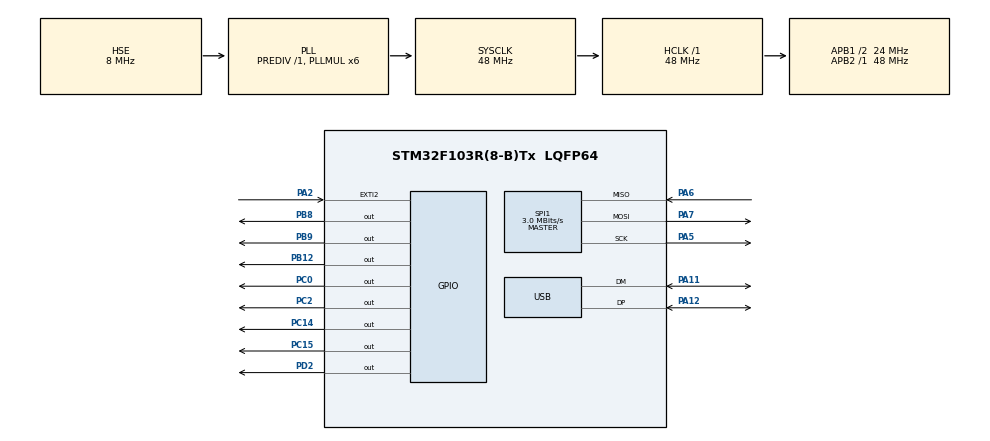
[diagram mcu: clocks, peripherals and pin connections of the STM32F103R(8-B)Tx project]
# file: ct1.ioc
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Mcu.Family=STM32F1
Mcu.Name=STM32F103R(8-B)Tx
Mcu.Package=LQFP64
NVIC.EXTI2_IRQn=true\:0\:0\:false\:false\:true\:true\:true
NVIC.PriorityGroup=NVIC_PRIORITYGROUP_4
NVIC.USB_LP_CAN1_RX0_IRQn=true\:0\:0\:false\:false\:true\:false\:true
PA11.Mode=Device
PA11.Signal=USB_DM
PA12.Mode=Device
PA12.Signal=USB_DP
PA13.Mode=Serial_Wire
PA13.Signal=SYS_JTMS-SWDIO
PA14.Mode=Serial_Wire
PA14.Signal=SYS_JTCK-SWCLK
PA2.GPIO_ModeDefaultEXTI=GPIO_MODE_IT_RISING_FALLING
PA2.Signal=GPXTI2
PA5.Mode=Full_Duplex_Master
PA5.Signal=SPI1_SCK
PA6.Mode=Full_Duplex_Master
PA6.Signal=SPI1_MISO
PA7.Mode=Full_Duplex_Master
PA7.Signal=SPI1_MOSI
PB12.GPIO_Speed=GPIO_SPEED_FREQ_LOW
PB12.PinState=GPIO_PIN_SET
PB12.Signal=GPIO_Output
PB8.GPIO_Speed=GPIO_SPEED_FREQ_HIGH
PB8.Signal=GPIO_Output
PB9.GPIO_Speed=GPIO_SPEED_FREQ_HIGH
PB9.Signal=GPIO_Output
PC0.Signal=GPIO_Output
PC14-OSC32_IN.GPIO_Speed=GPIO_SPEED_FREQ_HIGH
PC14-OSC32_IN.PinState=GPIO_PIN_SET
PC14-OSC32_IN.Signal=GPIO_Output
PC15-OSC32_OUT.Signal=GPIO_Output
PC2.GPIO_Speed=GPIO_SPEED_FREQ_MEDIUM
PC2.Signal=GPIO_Output
PD0-OSC_IN.Mode=HSE-External-Oscillator
PD0-OSC_IN.Signal=RCC_OSC_IN
PD1-OSC_OUT.Mode=HSE-External-Oscillator
PD1-OSC_OUT.Signal=RCC_OSC_OUT
PD2.Signal=GPIO_Output
ProjectManager.HeapSize=0x2000
ProjectManager.StackSize=0x2000
ProjectManager.TargetToolchain=MDK-ARM V5.27
RCC.AHBFreq_Value=48000000
RCC.APB1CLKDivider=RCC_HCLK_DIV2
RCC.APB1Freq_Value=24000000
RCC.APB1TimFreq_Value=48000000
RCC.APB2Freq_Value=48000000
RCC.APB2TimFreq_Value=48000000
RCC.HCLKFreq_Value=48000000
RCC.PLLMUL=RCC_PLL_MUL6
RCC.PLLSourceVirtual=RCC_PLLSOURCE_HSE
RCC.SYSCLKFreq_VALUE=48000000
RCC.SYSCLKSource=RCC_SYSCLKSOURCE_PLLCLK
RCC.USBFreq_Value=48000000
SPI1.BaudRatePrescaler=SPI_BAUDRATEPRESCALER_16
SPI1.CalculateBaudRate=3.0 MBits/s
SPI1.DataSize=SPI_DATASIZE_16BIT
SPI1.Direction=SPI_DIRECTION_2LINES
SPI1.Mode=SPI_MODE_MASTER
SPI1.VirtualType=VM_MASTER
USB_DEVICE.CLASS_NAME_FS=CDC
USB_DEVICE.VirtualMode=Cdc
USB_DEVICE.VirtualModeFS=Cdc_FS
VP_USB_DEVICE_VS_USB_DEVICE_CDC_FS.Mode=CDC_FS
board=custom

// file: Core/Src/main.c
/* USER CODE BEGIN Header */
/**
  ******************************************************************************
  * @file           : main.c
  * @brief          : Main program body
  ******************************************************************************
  * @attention
  *
  * <h2><center>&copy; Copyright (c) 2020 STMicroelectronics.
  * All rights reserved.</center></h2>
  *
  * This software component is licensed by ST under Ultimate Liberty license
  * SLA0044, the "License"; You may not use this file except in compliance with
  * the License. You may obtain a copy of the License at:
  *                             www.st.com/SLA0044
  *
  ******************************************************************************
  */
/* USER CODE END Header */
#include "main.h"
#include "usb_device.h"

/* USER CODE BEGIN Includes */
#include "extfls.h"
#include "ctr.h"
#include "usbd_cdc_if.h"
/* USER CODE END Includes */

/* USER CODE BEGIN PM */
#define CPLD_RST_CLR 	HAL_GPIO_WritePin(GPIOB, GPIO_PIN_12, GPIO_PIN_RESET);
#define CPLD_RST_SET 	HAL_GPIO_WritePin(GPIOB, GPIO_PIN_12, GPIO_PIN_SET);
/* USER CODE END PM */

SPI_HandleTypeDef hspi1;

/* USER CODE BEGIN PV */
char sendbuf[96];
uint8_t recvbuf[64];
volatile uint8_t recvCnt;
int32_t getr[8];
//状态量，当前是否稳定 0 不稳定 1 临界稳定 2 稳定
int stableStaus;
//误差量
int error;
//上次的误差量
//0 2
int lastError;
//积分输出
//0 2
int zInt;
//变速积分输出
//2 3
int zSlo;
//暂态输出
//0 2
int zTrn;
//输出
int z;
//补偿输出
//0 1 2 3
int zBas;
//消抖稳定状态
//0 2 3
int stableCnt;
//消抖稳定方向
//0 1 2 3
int stableVec;
//控制模式 0 位置控制 1 速度控制 2 力位控制 3 力速控制
uint8_t controlMode;

//积分目标值域
//1
int targetP[128];
//当前位置
//1
int pt;

//目标值
float target;
int z;

int hForc;
int hPosi;

int lasttime=0;

int gettime(){
	int newtime=HAL_GetTick();
	if(newtime<lasttime)lasttime=newtime;
	int rst;
	rst=newtime-lasttime;
	return rst;
}

int resettime(){
	lasttime=HAL_GetTick();
	return 0;
}

uint8_t g_bAdcOver =0;

//位置一阶误差阈值
double sMaxThre;
//位置一阶输出
double sMaxOp;
//位置二阶误差阈值
double sSndThre;
//位置二阶P
double sSndP;
//位置二阶I
double sSndI;
//位置三阶I
double sTrdI;
//位置三阶D
double sTrdD;
//位置三阶I饱和阈值
double sTrdDF;
//位置接近误差阈值
double sClsThre;
//位置稳定周期数
double sStbT;

//启动减速比
double SLB;
//速率输出偏移量
double dsDif;
//速率输出调整周期
double dsChgT;
//速率输出输出调整量
double dsChgV;
//速率输出限幅
double dsMaxOp;

//力一阶误差阈值
double fMaxThre;
//力一阶输出
double fMaxOp;
//力二阶误差阈值
double fSndThre;
//力二阶P
double fSndP;
//力二阶I
double fSndI;
//力三阶I
double fTrdI;
//力三阶D
double fTrdD;
//力置三阶I饱和阈值
double fTrdDF;
//力接近误差阈值
double fClsThre;
//力变速积分I
double fSpcI;
//力去纹波阈值
double fReMThre;
//力去纹波P
double fReMP;
//力稳定周期数
double fStbT;

//力速输出偏移量
double dfDif;
//力速输出调整周期
double dfChgT;
//力速输出输出调整量
double dfChgV;
//力速输出限幅
double dfMaxOp;
//力速变速积分周期
double dfSpcT;
//力速变速积分比
double dfSpcI;
//力速变速积分权重
double dfSpcM;
//力速差归零阈值倍数
double dfDifZThre;

//设备类型0 法向 1切向
uint8_t devType;

//配置状态
uint8_t cfgAv;

FLASH_EraseInitTypeDef fls0;
uint32_t tmp0;

//从 0x1F000 开始 到0x1F300
uint8_t cfgbuf[289+4+8];

uint32_t reading_adr=0;
uint32_t writing_adr=0;

int connected=0;

void m2(double* d1){
	for(int i=0;i<8;i++)
		*(uint8_t*)((int)d1+i)=*(volatile uint8_t*)(reading_adr+i);
	reading_adr+=8;
}

void readCfg(){
	for(int i=0;i<289+4;i++)
		*(uint8_t*)&cfgbuf[i]=*(volatile uint8_t*)(0x0801F000+i);
	if(cfgbuf[0]==0x01 && cfgbuf[1]==0xF4){
		uint8_t test0=0;
		uint8_t test1=0;
		for(int i=2;i<289+1;i++){
			test0^=cfgbuf[i];
			test1^=cfgbuf[i+1];
		}
		if(test0==cfgbuf[289+2]&&test1==cfgbuf[289+3]){
			reading_adr=(uint32_t)&cfgbuf[2];
			m2(&sMaxThre);
			m2(&sMaxOp);
			m2(&sSndThre);
			m2(&sSndP);
			m2(&sSndI);
			m2(&sTrdI);
			m2(&sTrdD);
			m2(&sTrdDF);
			m2(&sClsThre);
			m2(&sStbT);

			m2(&SLB);
			m2(&dsDif);
			m2(&dsChgT);
			m2(&dsChgV);
			m2(&dsMaxOp);

			m2(&fMaxThre);
			m2(&fMaxOp);
			m2(&fSndThre);
			m2(&fSndP);
			m2(&fSndI);
			m2(&fTrdI);
			m2(&fTrdD);
			m2(&fTrdDF);
			m2(&fClsThre);
			m2(&fSpcI);
			m2(&fReMThre);
			m2(&fReMP);
			m2(&fStbT);

			m2(&dfDif);
			m2(&dfChgT);
			m2(&dfChgV);
			m2(&dfMaxOp);
			m2(&dfSpcT);
			m2(&dfSpcI);
			m2(&dfSpcM);
			m2(&dfDifZThre);

			*(uint8_t*)(&devType)=*(volatile uint8_t*)(reading_adr);
			cfgAv=1;
			return;
		}
	}
	cfgAv=0;
}

//一次36*8+1个数据
//289个数据
//2头+289+2校验
void editCfg(int stage){
	static int wrcnt;
	switch (stage)
	{
	case 0://z输出
		if(cfgAv!=1)vout_level(0);
		break;
	case 1://读取数据并写入
		if(cfgAv==2){
			int tmpCnt=recvCnt;
			//一次不超过50Bytes分6个包0 1头 2 3偏移量 4 长度
			if(tmpCnt>5&&recvbuf[0]==0x03&&recvbuf[1]==0xF1){
				memcpy(cfgbuf+recvbuf[2]*256+recvbuf[3],&recvbuf[5],recvbuf[4]);
				wrcnt+=recvbuf[4];
				if(wrcnt>400){
					uint8_t test0=0;
					uint8_t test1=0;
					for(int i=2;i<289+1;i++){
						test0^=cfgbuf[i];
						test1^=cfgbuf[i+1];
					}
					if(test0==cfgbuf[289+2]&&test1==cfgbuf[289+3]){
						sendbuf[0]=0x04;
						sendbuf[1]=0xF2;
						sendbuf[2]=0x05;
						sendbuf[3]=0xF3;
						CDC_Transmit_FS((uint8_t *)sendbuf,4);

						int adr=0x0801F000;
						HAL_FLASH_Unlock();
						fls0.TypeErase=FLASH_TYPEERASE_PAGES;
						fls0.PageAddress=adr;
						fls0.NbPages=1;
						HAL_FLASHEx_Erase(&fls0,&tmp0);

						for(int i=0;i<(293+4);i+=4)
						HAL_FLASH_Program(FLASH_TYPEPROGRAM_WORD,0x0801F000+i,*(uint32_t*)&cfgbuf[i]);

						HAL_FLASH_Lock();

						HAL_Delay(1);
						NVIC_SystemReset();
					}
				}
			}
		}
		break;
	case 2://上传数据
		wrcnt=0;
		HAL_Delay(10);
		CDC_Transmit_FS((uint8_t *)cfgbuf,293);
		HAL_Delay(10);
		CDC_Transmit_FS((uint8_t *)cfgbuf,293);
		HAL_Delay(10);
		CDC_Transmit_FS((uint8_t *)cfgbuf,293);
		break;
	default:
		break;
	}
}

/* USER CODE END PV */

void SystemClock_Config(void);
static void MX_GPIO_Init(void);
static void MX_SPI1_Init(void);

int main(void)
{
  /* USER CODE BEGIN 1 */
	//额外保护
	//int extraPUpLimit=150000000;//150mm
	//int extraPDnLimit=-10000;//-0.01mm
	//int extraFUpLimit=100000000;//1000kN

	int extraPUpLimit=160000000;//160mm
	int extraPDnLimit=-1000000;//-1mm
	int extraFUpLimit=500000000;//5000kN

	//设定保护
	int pUpLimit=2000000000;
	int pDnLimit=-100000000;
	int fUpLimit=2000000000;
	//0TODO 非调试状态，moded=0
	uint8_t moded=0;//已校准=1，未校准=0
	//int modeD[2]={-1111400,27600};
	int modeD[2]={0,0};
	//float modeK[2]={0.0483973,-0.035609};
	float modeK[2]={1,1};

	int modedZ=0;
	int modingact=0;
	int moding[8];
	//DEBUG
	int modeAV=0;

	uint32_t mem[9];

	int sysStableCnt;
	int lhPosi;
	int lhForc;
  /* USER CODE END 1 */

  /* MCU Configuration--------------------------------------------------------*/

  /* Reset of all peripherals, Initializes the Flash interface and the Systick. */
  HAL_Init();

  /* Configure the system clock */
  SystemClock_Config();

  /* Initialize all configured peripherals */
  MX_GPIO_Init();
  MX_USB_DEVICE_Init();
  MX_SPI1_Init();
  /* USER CODE BEGIN 2 */
	vout_level(0);

	//读取校准状态 读取设限状态
	//0x0801F800校准数据 +0 D[0] +4 D[1] +8 K[0] +12 K[1] +16 0x01 +20 0xFE
	//0x0801FC00设限数据 +0 pU +4 0x02 +8 0xFD +12 pD +16 0x03 +20 0xFC +24 fU +28 0x04 +32 0xFB
	uint32_t adr=0x0801F800;
	if(*(volatile uint32_t*)(adr+16)==0x01 && *(volatile uint32_t*)(adr+20)==0xFE){
		*(uint32_t*)&modeD[0] = *(volatile uint32_t*)adr;
		*(uint32_t*)&modeD[1] = *(volatile uint32_t*)(adr+4);
		*(uint32_t*)&modeK[0] = *(volatile uint32_t*)(adr+8);
		*(uint32_t*)&modeK[1] = *(volatile uint32_t*)(adr+12);

		moded=1;
		modeAV=1;
	}
	adr=0x0801FC00;
	if(*(volatile uint32_t*)(adr+4)==0x02 && *(volatile uint32_t*)(adr+8)==0xFD){
		*(uint32_t*)&pUpLimit = *(volatile uint32_t*)(adr);
	}
	adr+=12;
	if(*(volatile uint32_t*)(adr+4)==0x03 && *(volatile uint32_t*)(adr+8)==0xFC){
		*(uint32_t*)&pDnLimit = *(volatile uint32_t*)(adr);
	}
	adr+=12;
	if(*(volatile uint32_t*)(adr+4)==0x04 && *(volatile uint32_t*)(adr+8)==0xFB){
		*(uint32_t*)&fUpLimit = *(volatile uint32_t*)(adr);
	}

	readCfg();
	if(cfgAv!=1)moded=0;

	HAL_Delay(3000);

	CPLD_RST_CLR;
	HAL_Delay(1);
	CPLD_RST_SET;
	for(int i=0;i<5;i++){
		while(g_bAdcOver == 0);
		get_data(getr);
		hPosi=(int)(getr[7]/256+modeD[0])/modeK[0];
		g_bAdcOver=0;
	}
	stableStaus=0;
	sysStableCnt=0;
	if(moded){
		controlMode=0;
		target=hPosi;
	}else{
		controlMode=4;
	}

  /* USER CODE END 2 */

  /* Infinite loop */
  /* USER CODE BEGIN WHILE */

  while (1)
  {
		if(g_bAdcOver)
		{
			get_data(getr);
			g_bAdcOver = 0;

			hPosi=(int)(getr[7]/256+modeD[0])/modeK[0];
			hForc=(int)(getr[6]/256+modeD[1])/modeK[1];

			if(gettime()>1000){
				if(moded){
					controlMode=0;
					target=hPosi;
				}else{
					controlMode=4;
				}
			}

			sendbuf[0]=	0xFE;
			sendbuf[1]=	0xFE;
			sendbuf[2]=	moded;
			sendbuf[3]=	devType;
			sendbuf[4]=	controlMode;
			sendbuf[5]=	(hPosi>>24);
			sendbuf[6]=	(hPosi>>16)&0xFF;
			sendbuf[7]=	(hPosi>>8)&0xFF;
			sendbuf[8]=	hPosi&0xFF;
			sendbuf[9]=	(hForc>>24);
			sendbuf[10]=(hForc>>16)&0xFF;
			sendbuf[11]=(hForc>>8)&0xFF;
			sendbuf[12]=hForc&0xFF;
			sendbuf[13]=0;
			sendbuf[14]=0xFF;
			sendbuf[15]=0xFF;
			for(int i=2;i<13;i++)sendbuf[13]^=sendbuf[i];

			if(cfgAv==1)
			CDC_Transmit_FS((uint8_t *)sendbuf,16);
			//sprintf(sendbuf,"force:|%d| *10mN,\tposition:|%d| nm\n",hForc,hPosi);
			//CDC_Transmit_FS((uint8_t *)sendbuf,strlen(sendbuf));

			if(moded==2){
				controlMode=0;
			}
			controlCore();

			if(hPosi>pUpLimit){z=5000000;}
			if(hPosi<pDnLimit){z=-5000000;}
			if(moded==1)if(hForc>fUpLimit){z=1000000;}

			if(hPosi>extraPUpLimit){z=5000000;}
			if(hPosi<extraPDnLimit){z=-5000000;}
			if(moded==1)if(hForc>extraFUpLimit){z=1000000;}

			if(moded==0)z=modedZ;

			vout_level(-z);
			editCfg(0);

			if(stableStaus==1)stableStaus=2;
			if(stableStaus==0){
				if(abs(lhPosi-hPosi)<100000 && abs(lhForc-hForc)<200000){
					sysStableCnt++;
					if(sysStableCnt>2){
						stableStaus=1;
					}
				}else{
					sysStableCnt=0;
				}
			}
			lhPosi=hPosi;
			lhForc=hForc;
		}
		if(recvCnt!=0){
			resettime();
			editCfg(1);
			uint8_t tmpbuf[64];
			uint8_t test;
			int tmpCnt=recvCnt;
			memcpy(tmpbuf,recvbuf,tmpCnt);
			recvCnt=0;
			for(int i=0;i<tmpCnt-7;i++){
				if(tmpbuf[i]==0xFE && tmpbuf[i+7]==0xFF){
					test=0;
					for(int j=1;j<6;j++)test^=tmpbuf[i+j];
					if(test==tmpbuf[i+6]){
						int data;
						*(uint32_t*)(&data)=(tmpbuf[i+2]<<24)+(tmpbuf[i+3]<<16)+(tmpbuf[i+4]<<8)+(tmpbuf[i+5]);
						//开始处理下发数据包
						switch(tmpbuf[i+1]>>4){
							case 0:
								//校准
								switch(tmpbuf[i+1]&0x0F){
									case 0://开始校准
										modedZ=0;
										moded=0;
										modingact&=0x00;
										break;
									case 1://设定输出
										modedZ=-data;
										break;
									case 2://读取0位posi
										moding[0]=getr[7]/256;
										modingact |= 0x01;
										break;
									case 3://读取满位posi
										moding[1]=getr[7]/256;
										modingact |= 0x02;
										moding[5]=data;
										break;
									case 4://完成位移校准
										modeK[0]=(float)(((double)(moding[1]-moding[0]))/(double)(moding[5]));
										modeD[0]=-moding[0]-modeK[0]*100000;
										moded=1;
										modedZ=0;
										target=(int)(getr[7]/256+modeD[0])/modeK[0];
										modeAV=1;
										//Flash 写入
										adr=0x0801F800;
										HAL_FLASH_Unlock();
										fls0.TypeErase=FLASH_TYPEERASE_PAGES;
										fls0.PageAddress=adr;
										fls0.NbPages=1;
										HAL_FLASHEx_Erase(&fls0,&tmp0);

										HAL_FLASH_Program(FLASH_TYPEPROGRAM_WORD,adr,*(uint32_t*)&modeD[0]);
										HAL_FLASH_Program(FLASH_TYPEPROGRAM_WORD,adr+4,*(uint32_t*)&modeD[1]);
										HAL_FLASH_Program(FLASH_TYPEPROGRAM_WORD,adr+8,*(uint32_t*)&modeK[0]);
										HAL_FLASH_Program(FLASH_TYPEPROGRAM_WORD,adr+12,*(uint32_t*)&modeK[1]);
										HAL_FLASH_Program(FLASH_TYPEPROGRAM_WORD,adr+16,0x01);
										HAL_FLASH_Program(FLASH_TYPEPROGRAM_WORD,adr+20,0xFE);

										HAL_FLASH_Lock();
										break;
									case 5://设定位移
										target=data;
										break;
									case 6://读取0位力
										moding[2]=getr[6]/256;
										modingact |= 0x04;
										break;
									case 7://读取参考位力
										moding[3]=getr[6]/256;
										modingact |= 0x08;
										moding[4]=data;
										break;
									case 8://完成校准

										modeK[1]=(float)(((double)(moding[3]-moding[2]))/(double)moding[4]);

										modeD[1]=-moding[2]-modeK[1]*1000;

										moded=1;
										modedZ=0;
										modeAV=1;
										//Flash 写入
										adr=0x0801F800;
										HAL_FLASH_Unlock();
										fls0.TypeErase=FLASH_TYPEERASE_PAGES;
										fls0.PageAddress=adr;
										fls0.NbPages=1;
										HAL_FLASHEx_Erase(&fls0,&tmp0);

										HAL_FLASH_Program(FLASH_TYPEPROGRAM_WORD,adr,*(uint32_t*)&modeD[0]);
										HAL_FLASH_Program(FLASH_TYPEPROGRAM_WORD,adr+4,*(uint32_t*)&modeD[1]);
										HAL_FLASH_Program(FLASH_TYPEPROGRAM_WORD,adr+8,*(uint32_t*)&modeK[0]);
										HAL_FLASH_Program(FLASH_TYPEPROGRAM_WORD,adr+12,*(uint32_t*)&modeK[1]);
										HAL_FLASH_Program(FLASH_TYPEPROGRAM_WORD,adr+16,0x01);
										HAL_FLASH_Program(FLASH_TYPEPROGRAM_WORD,adr+20,0xFE);

										HAL_FLASH_Lock();

										break;
									case 0x0A://开始力校准
										moded=2;
										modedZ=0;
										target=0;
										break;

									default://取消校准
										if(modeAV==1){
											moded=1;
											modedZ=0;
										}else{
											modedZ=0;
										}
										break;
								}
								break;
							case 1:
								//设限
								adr=0x0801FC00;
								for(int wrti=0;wrti<9;wrti+=4){
									*(uint32_t*)&mem[wrti] = *(volatile uint32_t*)(adr+4*wrti);
								}
								switch(tmpbuf[i+1]&0x0F){
									case 0://位移上限
										pUpLimit=data;
										mem[1]=0x02;
										mem[2]=0xFD;
										break;
									case 1://位移下限
										pDnLimit=data;
										mem[4]=0x03;
										mem[5]=0xFC;
										break;
									case 2://力上限
										fUpLimit=data;
										mem[7]=0x04;
										mem[8]=0xFB;
										break;
									default:
										break;
								}
								//TODO 写入flash
								break;
							case 2:
								//运动
								if(moded!=1)break;
								sysStableCnt=0;
								stableStaus=0;
								controlMode=tmpbuf[i+1]&0x0F;
								if((controlMode&0x01)==0x1)
									target=data/1000.0;
								else
									target=data;
								break;
							case 3:
								//配置数据
								cfgAv=2;
								editCfg(2);
								break;
						}
						//完成处理下发数据包
						break;
					}
				}
			}

		}
    /* USER CODE END WHILE */

  }
}

void SystemClock_Config(void)
{
  RCC_OscInitTypeDef RCC_OscInitStruct = {0};
  RCC_ClkInitTypeDef RCC_ClkInitStruct = {0};
  RCC_PeriphCLKInitTypeDef PeriphClkInit = {0};

  /** Initializes the RCC Oscillators according to the specified parameters
  * in the RCC_OscInitTypeDef structure.
  */
  RCC_OscInitStruct.OscillatorType = RCC_OSCILLATORTYPE_HSE;
  RCC_OscInitStruct.HSEState = RCC_HSE_ON;
  RCC_OscInitStruct.HSEPredivValue = RCC_HSE_PREDIV_DIV1;
  RCC_OscInitStruct.HSIState = RCC_HSI_ON;
  RCC_OscInitStruct.PLL.PLLState = RCC_PLL_ON;
  RCC_OscInitStruct.PLL.PLLSource = RCC_PLLSOURCE_HSE;
  RCC_OscInitStruct.PLL.PLLMUL = RCC_PLL_MUL6;
  if (HAL_RCC_OscConfig(&RCC_OscInitStruct) != HAL_OK)
  {
    Error_Handler();
  }
  /** Initializes the CPU, AHB and APB buses clocks
  */
  RCC_ClkInitStruct.ClockType = RCC_CLOCKTYPE_HCLK|RCC_CLOCKTYPE_SYSCLK
                              |RCC_CLOCKTYPE_PCLK1|RCC_CLOCKTYPE_PCLK2;
  RCC_ClkInitStruct.SYSCLKSource = RCC_SYSCLKSOURCE_PLLCLK;
  RCC_ClkInitStruct.AHBCLKDivider = RCC_SYSCLK_DIV1;
  RCC_ClkInitStruct.APB1CLKDivider = RCC_HCLK_DIV2;
  RCC_ClkInitStruct.APB2CLKDivider = RCC_HCLK_DIV1;

  if (HAL_RCC_ClockConfig(&RCC_ClkInitStruct, FLASH_LATENCY_1) != HAL_OK)
  {
    Error_Handler();
  }
  PeriphClkInit.PeriphClockSelection = RCC_PERIPHCLK_USB;
  PeriphClkInit.UsbClockSelection = RCC_USBCLKSOURCE_PLL;
  if (HAL_RCCEx_PeriphCLKConfig(&PeriphClkInit) != HAL_OK)
  {
    Error_Handler();
  }
}

static void MX_SPI1_Init(void)
{

  /* SPI1 parameter configuration*/
  hspi1.Instance = SPI1;
  hspi1.Init.Mode = SPI_MODE_MASTER;
  hspi1.Init.Direction = SPI_DIRECTION_2LINES;
  hspi1.Init.DataSize = SPI_DATASIZE_16BIT;
  hspi1.Init.CLKPolarity = SPI_POLARITY_LOW;
  hspi1.Init.CLKPhase = SPI_PHASE_1EDGE;
  hspi1.Init.NSS = SPI_NSS_SOFT;
  hspi1.Init.BaudRatePrescaler = SPI_BAUDRATEPRESCALER_16;
  hspi1.Init.FirstBit = SPI_FIRSTBIT_MSB;
  hspi1.Init.TIMode = SPI_TIMODE_DISABLE;
  hspi1.Init.CRCCalculation = SPI_CRCCALCULATION_DISABLE;
  hspi1.Init.CRCPolynomial = 10;
  if (HAL_SPI_Init(&hspi1) != HAL_OK)
  {
    Error_Handler();
  }

}

static void MX_GPIO_Init(void)
{
  GPIO_InitTypeDef GPIO_InitStruct = {0};

  /* GPIO Ports Clock Enable */
  __HAL_RCC_GPIOC_CLK_ENABLE();
  __HAL_RCC_GPIOD_CLK_ENABLE();
  __HAL_RCC_GPIOA_CLK_ENABLE();
  __HAL_RCC_GPIOB_CLK_ENABLE();

  /*Configure GPIO pin Output Level */
  HAL_GPIO_WritePin(GPIOC, GPIO_PIN_14, GPIO_PIN_SET);

  /*Configure GPIO pin Output Level */
  HAL_GPIO_WritePin(GPIOC, GPIO_PIN_15|GPIO_PIN_0|GPIO_PIN_2, GPIO_PIN_RESET);

  /*Configure GPIO pin Output Level */
  HAL_GPIO_WritePin(GPIOB, GPIO_PIN_12, GPIO_PIN_SET);

  /*Configure GPIO pin Output Level */
  HAL_GPIO_WritePin(GPIOD, GPIO_PIN_2, GPIO_PIN_RESET);

  /*Configure GPIO pin Output Level */
  HAL_GPIO_WritePin(GPIOB, GPIO_PIN_8|GPIO_PIN_9, GPIO_PIN_RESET);

  /*Configure GPIO pin : PC14 */
  GPIO_InitStruct.Pin = GPIO_PIN_14;
  GPIO_InitStruct.Mode = GPIO_MODE_OUTPUT_PP;
  GPIO_InitStruct.Pull = GPIO_NOPULL;
  GPIO_InitStruct.Speed = GPIO_SPEED_FREQ_HIGH;
  HAL_GPIO_Init(GPIOC, &GPIO_InitStruct);

  /*Configure GPIO pins : PC15 PC0 */
  GPIO_InitStruct.Pin = GPIO_PIN_15|GPIO_PIN_0;
  GPIO_InitStruct.Mode = GPIO_MODE_OUTPUT_PP;
  GPIO_InitStruct.Pull = GPIO_NOPULL;
  GPIO_InitStruct.Speed = GPIO_SPEED_FREQ_LOW;
  HAL_GPIO_Init(GPIOC, &GPIO_InitStruct);

  /*Configure GPIO pin : PC2 */
  GPIO_InitStruct.Pin = GPIO_PIN_2;
  GPIO_InitStruct.Mode = GPIO_MODE_OUTPUT_PP;
  GPIO_InitStruct.Pull = GPIO_NOPULL;
  GPIO_InitStruct.Speed = GPIO_SPEED_FREQ_MEDIUM;
  HAL_GPIO_Init(GPIOC, &GPIO_InitStruct);

  /*Configure GPIO pin : PA2 */
  GPIO_InitStruct.Pin = GPIO_PIN_2;
  GPIO_InitStruct.Mode = GPIO_MODE_IT_RISING_FALLING;
  GPIO_InitStruct.Pull = GPIO_NOPULL;
  HAL_GPIO_Init(GPIOA, &GPIO_InitStruct);

  /*Configure GPIO pin : PB12 */
  GPIO_InitStruct.Pin = GPIO_PIN_12;
  GPIO_InitStruct.Mode = GPIO_MODE_OUTPUT_PP;
  GPIO_InitStruct.Pull = GPIO_NOPULL;
  GPIO_InitStruct.Speed = GPIO_SPEED_FREQ_LOW;
  HAL_GPIO_Init(GPIOB, &GPIO_InitStruct);

  /*Configure GPIO pin : PD2 */
  GPIO_InitStruct.Pin = GPIO_PIN_2;
  GPIO_InitStruct.Mode = GPIO_MODE_OUTPUT_PP;
  GPIO_InitStruct.Pull = GPIO_NOPULL;
  GPIO_InitStruct.Speed = GPIO_SPEED_FREQ_LOW;
  HAL_GPIO_Init(GPIOD, &GPIO_InitStruct);

  /*Configure GPIO pins : PB8 PB9 */
  GPIO_InitStruct.Pin = GPIO_PIN_8|GPIO_PIN_9;
  GPIO_InitStruct.Mode = GPIO_MODE_OUTPUT_PP;
  GPIO_InitStruct.Pull = GPIO_NOPULL;
  GPIO_InitStruct.Speed = GPIO_SPEED_FREQ_HIGH;
  HAL_GPIO_Init(GPIOB, &GPIO_InitStruct);

  /* EXTI interrupt init*/
  HAL_NVIC_SetPriority(EXTI2_IRQn, 0, 0);
  HAL_NVIC_EnableIRQ(EXTI2_IRQn);

}

void Error_Handler(void)
{
}

/************************ (C) COPYRIGHT STMicroelectronics *****END OF FILE****/
